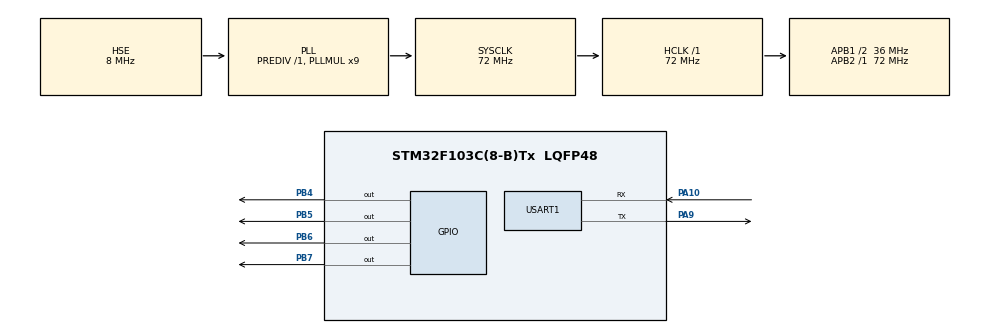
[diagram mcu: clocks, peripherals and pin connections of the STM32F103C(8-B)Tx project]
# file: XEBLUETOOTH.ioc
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Mcu.Family=STM32F1
Mcu.Name=STM32F103C(8-B)Tx
Mcu.Package=LQFP48
NVIC.PriorityGroup=NVIC_PRIORITYGROUP_4
NVIC.USART1_IRQn=true\:0\:0\:false\:false\:true\:true\:true\:true
PA10.Mode=Asynchronous
PA10.Signal=USART1_RX
PA13.Mode=Serial_Wire
PA13.Signal=SYS_JTMS-SWDIO
PA14.Mode=Serial_Wire
PA14.Signal=SYS_JTCK-SWCLK
PA9.Mode=Asynchronous
PA9.Signal=USART1_TX
PB4.GPIO_PuPd=GPIO_PULLUP
PB4.Signal=GPIO_Output
PB5.GPIO_PuPd=GPIO_PULLUP
PB5.Signal=GPIO_Output
PB6.GPIO_PuPd=GPIO_PULLUP
PB6.Signal=GPIO_Output
PB7.GPIO_PuPd=GPIO_PULLUP
PB7.Signal=GPIO_Output
PD0-OSC_IN.Mode=HSE-External-Oscillator
PD0-OSC_IN.Signal=RCC_OSC_IN
PD1-OSC_OUT.Mode=HSE-External-Oscillator
PD1-OSC_OUT.Signal=RCC_OSC_OUT
ProjectManager.HeapSize=0x200
ProjectManager.StackSize=0x400
ProjectManager.TargetToolchain=MDK-ARM V5.32
RCC.AHBFreq_Value=72000000
RCC.APB1CLKDivider=RCC_HCLK_DIV2
RCC.APB1Freq_Value=36000000
RCC.APB1TimFreq_Value=72000000
RCC.APB2Freq_Value=72000000
RCC.APB2TimFreq_Value=72000000
RCC.HCLKFreq_Value=72000000
RCC.PLLMUL=RCC_PLL_MUL9
RCC.PLLSourceVirtual=RCC_PLLSOURCE_HSE
RCC.SYSCLKFreq_VALUE=72000000
RCC.SYSCLKSource=RCC_SYSCLKSOURCE_PLLCLK
RCC.USBFreq_Value=72000000
USART1.VirtualMode=VM_ASYNC
board=custom

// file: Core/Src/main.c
/* USER CODE BEGIN Header */
/**
  ******************************************************************************
  * @file           : main.c
  * @brief          : Main program body
  ******************************************************************************
  * @attention
  *
  * Copyright (c) 2023 STMicroelectronics.
  * All rights reserved.
  *
  * This software is licensed under terms that can be found in the LICENSE file
  * in the root directory of this software component.
  * If no LICENSE file comes with this software, it is provided AS-IS.
  *
  ******************************************************************************
  */
/* USER CODE END Header */
#include "main.h"

/* USER CODE BEGIN Includes */
uint8_t u8_TxBuff[1];
/* USER CODE END Includes */

UART_HandleTypeDef huart1;

void SystemClock_Config(void);
static void MX_GPIO_Init(void);
static void MX_USART1_UART_Init(void);

/* USER CODE BEGIN 0 */
void HAL_UART_RxCpltCallback(UART_HandleTypeDef *huart)
{
  /* Prevent unused argument(s) compilation warning */
  UNUSED(huart);
	if(huart->Instance == USART1)
	{
			HAL_UART_Receive_IT(&huart1, u8_TxBuff, 1);
			HAL_UART_Transmit(&huart1, u8_TxBuff, 1 , 100);
			if(u8_TxBuff[0] == 'F')
		{
			HAL_GPIO_WritePin(GPIOB, GPIO_PIN_4,1);
			HAL_GPIO_WritePin(GPIOB, GPIO_PIN_5,0);
			HAL_GPIO_WritePin(GPIOB, GPIO_PIN_6,1);
			HAL_GPIO_WritePin(GPIOB, GPIO_PIN_7,0);
		}
		else if(u8_TxBuff[0] == 'B')
		{
			HAL_GPIO_WritePin(GPIOB, GPIO_PIN_4,0);
			HAL_GPIO_WritePin(GPIOB, GPIO_PIN_5,1);
			HAL_GPIO_WritePin(GPIOB, GPIO_PIN_6,0);
			HAL_GPIO_WritePin(GPIOB, GPIO_PIN_7,1);
		}
			else if(u8_TxBuff[0] == 'L')
		{
			HAL_GPIO_WritePin(GPIOB, GPIO_PIN_4,0);
			HAL_GPIO_WritePin(GPIOB, GPIO_PIN_5,1);
			HAL_GPIO_WritePin(GPIOB, GPIO_PIN_6,1);
			HAL_GPIO_WritePin(GPIOB, GPIO_PIN_7,0);
		}
		else if(u8_TxBuff[0] == 'R')
		{
			HAL_GPIO_WritePin(GPIOB, GPIO_PIN_4,1);
			HAL_GPIO_WritePin(GPIOB, GPIO_PIN_5,0);
			HAL_GPIO_WritePin(GPIOB, GPIO_PIN_6,0);
			HAL_GPIO_WritePin(GPIOB, GPIO_PIN_7,1);
		}
		 if(u8_TxBuff[0] == 'S')
			{
			HAL_GPIO_WritePin(GPIOB, GPIO_PIN_4,0);
			HAL_GPIO_WritePin(GPIOB, GPIO_PIN_5,0);
			HAL_GPIO_WritePin(GPIOB, GPIO_PIN_6,0);
			HAL_GPIO_WritePin(GPIOB, GPIO_PIN_7,0);
		}
	}
  /* NOTE: This function should not be modified, when the callback is needed,
           the HAL_UART_ErrorCallback could be implemented in the user file
   */
}
/* USER CODE END 0 */

int main(void)
{

  /* MCU Configuration--------------------------------------------------------*/

  /* Reset of all peripherals, Initializes the Flash interface and the Systick. */
  HAL_Init();

  /* Configure the system clock */
  SystemClock_Config();

  /* Initialize all configured peripherals */
  MX_GPIO_Init();
  MX_USART1_UART_Init();
	HAL_UART_Receive_IT(&huart1, u8_TxBuff, 1);
  /* Infinite loop */
  while (1)
  {

  }
}

void SystemClock_Config(void)
{
  RCC_OscInitTypeDef RCC_OscInitStruct = {0};
  RCC_ClkInitTypeDef RCC_ClkInitStruct = {0};

  /** Initializes the RCC Oscillators according to the specified parameters
  * in the RCC_OscInitTypeDef structure.
  */
  RCC_OscInitStruct.OscillatorType = RCC_OSCILLATORTYPE_HSE;
  RCC_OscInitStruct.HSEState = RCC_HSE_ON;
  RCC_OscInitStruct.HSEPredivValue = RCC_HSE_PREDIV_DIV1;
  RCC_OscInitStruct.HSIState = RCC_HSI_ON;
  RCC_OscInitStruct.PLL.PLLState = RCC_PLL_ON;
  RCC_OscInitStruct.PLL.PLLSource = RCC_PLLSOURCE_HSE;
  RCC_OscInitStruct.PLL.PLLMUL = RCC_PLL_MUL9;
  if (HAL_RCC_OscConfig(&RCC_OscInitStruct) != HAL_OK)
  {
    Error_Handler();
  }

  /** Initializes the CPU, AHB and APB buses clocks
  */
  RCC_ClkInitStruct.ClockType = RCC_CLOCKTYPE_HCLK|RCC_CLOCKTYPE_SYSCLK
                              |RCC_CLOCKTYPE_PCLK1|RCC_CLOCKTYPE_PCLK2;
  RCC_ClkInitStruct.SYSCLKSource = RCC_SYSCLKSOURCE_PLLCLK;
  RCC_ClkInitStruct.AHBCLKDivider = RCC_SYSCLK_DIV1;
  RCC_ClkInitStruct.APB1CLKDivider = RCC_HCLK_DIV2;
  RCC_ClkInitStruct.APB2CLKDivider = RCC_HCLK_DIV1;

  if (HAL_RCC_ClockConfig(&RCC_ClkInitStruct, FLASH_LATENCY_2) != HAL_OK)
  {
    Error_Handler();
  }
}

static void MX_USART1_UART_Init(void)
{

  huart1.Instance = USART1;
  huart1.Init.BaudRate = 115200;
  huart1.Init.WordLength = UART_WORDLENGTH_8B;
  huart1.Init.StopBits = UART_STOPBITS_1;
  huart1.Init.Parity = UART_PARITY_NONE;
  huart1.Init.Mode = UART_MODE_TX_RX;
  huart1.Init.HwFlowCtl = UART_HWCONTROL_NONE;
  huart1.Init.OverSampling = UART_OVERSAMPLING_16;
  if (HAL_UART_Init(&huart1) != HAL_OK)
  {
    Error_Handler();
  }

}

static void MX_GPIO_Init(void)
{
  GPIO_InitTypeDef GPIO_InitStruct = {0};

  /* GPIO Ports Clock Enable */
  __HAL_RCC_GPIOD_CLK_ENABLE();
  __HAL_RCC_GPIOA_CLK_ENABLE();
  __HAL_RCC_GPIOB_CLK_ENABLE();

  /*Configure GPIO pin Output Level */
  HAL_GPIO_WritePin(GPIOB, GPIO_PIN_4|GPIO_PIN_5|GPIO_PIN_6|GPIO_PIN_7, GPIO_PIN_RESET);

  /*Configure GPIO pins : PB4 PB5 PB6 PB7 */
  GPIO_InitStruct.Pin = GPIO_PIN_4|GPIO_PIN_5|GPIO_PIN_6|GPIO_PIN_7;
  GPIO_InitStruct.Mode = GPIO_MODE_OUTPUT_PP;
  GPIO_InitStruct.Pull = GPIO_PULLUP;
  GPIO_InitStruct.Speed = GPIO_SPEED_FREQ_LOW;
  HAL_GPIO_Init(GPIOB, &GPIO_InitStruct);

}

void Error_Handler(void)
{
  __disable_irq();
  while (1)
  {
  }
}
